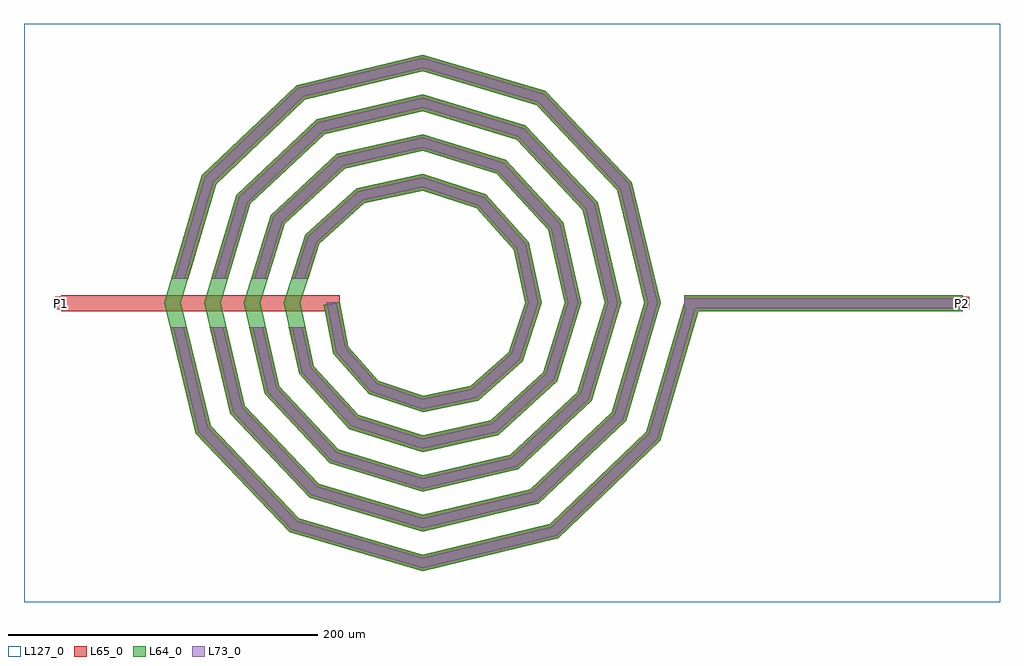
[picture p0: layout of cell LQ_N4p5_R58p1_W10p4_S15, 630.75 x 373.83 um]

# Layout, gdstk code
import gdstk
lib = gdstk.Library(unit=1e-6, precision=1e-09)
def R(c, l, rs):  # rectangles x0, y0, x1, y1
    for r in rs: c.add(gdstk.rectangle(r[:2], r[2:], *l))
def P(c, l, *ps):  # polygons
    for p in ps: c.add(gdstk.Polygon(p, *l))
L64_0 = (64, 0)
L65_0 = (65, 0)
L73_0 = (73, 0)
L127_0 = (127, 0)

lq_n4p5_r58p1_w10p4_s15 = lib.new_cell('LQ_N4p5_R58p1_W10p4_S15')
R(lq_n4p5_r58p1_w10p4_s15, L64_0, [(169.179,-5.2,349.179,5.2)])
P(lq_n4p5_r58p1_w10p4_s15, L64_0, [(-47.918,-28.073),(-28.542,-50.118),(0.329,-59.815),(31.254,-53.496),(55.663,-31.78),(66.237,0.3),(59.071,34.441),(35.014,61.212),(0.275,72.658),(-37.632,64.644),(-66.762,38.244),(-79.08,0.254),(-70.215,-40.825),(-41.471,-72.315),(0.236,-85.503),(44.022,-75.786),(77.868,-44.696),(91.925,0.221),(81.355,47.22),(47.92,83.423),(0.207,98.347),(-50.42,86.924),(-88.979,51.142),(-104.77,0.195),(-92.492,-53.621),(-54.363,-94.535),(0.184,-111.192),(56.824,-98.059),(100.093,-57.583),(117.615,0.175),(103.626,60.027),(60.802,105.65),(0.166,124.038),(-63.231,109.192),(-111.208,64.02),(-130.46,0.158),(-114.758,-66.436),(-67.238,-116.767),(0.151,-136.883),(69.641,-120.324),(122.326,-70.455),(143.306,0.145),(125.889,72.847),(73.672,127.885),(0.139,149.729),(-76.053,131.455),(-133.445,76.888),(-156.151,0.133),(-137.02,-79.26),(-80.104,-139.004),(0.128,-162.574),(82.467,-142.584),(144.564,-83.32),(169.389,1.461),(179.37,-1.461),(153.761,-88.918),(87.63,-152.033),(0.128,-173.339),(-85.711,-148.197),(-146.473,-84.414),(-166.916,0.133),(-142.631,82.504),(-81.198,140.913),(0.139,160.493),(79.297,137.066),(135.353,77.982),(154.069,0.145),(131.501,-76.091),(74.765,-129.794),(0.151,-147.646),(-72.886,-125.935),(-124.235,-71.547),(-141.223,0.158),(-120.368,69.68),(-68.329,118.676),(0.166,134.8),(66.476,114.802),(113.118,65.11),(128.377,0.175),(109.235,-63.272),(61.891,-107.56),(0.184,-121.954),(-60.069,-103.667),(-102.002,-58.67),(-115.531,0.195),(-98.099,56.867),(-55.448,96.446),(0.207,109.107),(53.666,92.53),(90.889,52.225),(102.684,0.221),(86.96,-50.467),(49.001,-85.334),(0.236,-96.26),(-47.269,-81.389),(-79.78,-45.774),(-89.837,0.254),(-75.816,44.074),(-42.545,74.226),(0.275,83.413),(40.881,70.242),(68.675,39.313),(76.989,0.3),(64.665,-37.692),(36.077,-63.125),(0.329,-70.565),(-34.507,-59.086),(-57.578,-32.835),(-63.868,-1.008),(-53.666,1.008)])
R(lq_n4p5_r58p1_w10p4_s15, L65_0, [(-233.567,-5.2,-53.567,5.2), (169.179,-5.2,349.179,5.2), (-237.567,-4,-229.567,4), (345.179,-4,353.179,4)])
P(lq_n4p5_r58p1_w10p4_s15, L65_0, [(-137.02,-79.26),(-80.104,-139.004),(0.128,-162.574),(82.467,-142.584),(144.564,-83.32),(169.389,1.461),(179.37,-1.461),(153.762,-88.918),(87.63,-152.033),(0.128,-173.339),(-85.711,-148.197),(-146.473,-84.415),(-163.111,-15.6),(-152.412,-15.6)],
  [(-114.758,-66.436),(-67.238,-116.767),(0.151,-136.883),(69.641,-120.324),(122.326,-70.455),(143.306,0.145),(125.889,72.847),(73.672,127.885),(0.139,149.729),(-76.053,131.455),(-133.445,76.888),(-151.513,15.6),(-162.356,15.6),(-142.631,82.504),(-81.198,140.913),(0.139,160.493),(79.298,137.066),(135.354,77.982),(154.069,0.145),(131.501,-76.091),(74.765,-129.794),(0.151,-147.646),(-72.886,-125.935),(-124.235,-71.547),(-137.49,-15.6),(-126.802,-15.6)],
  [(-92.492,-53.621),(-54.363,-94.535),(0.184,-111.192),(56.824,-98.059),(100.093,-57.583),(117.615,0.175),(103.626,60.027),(60.802,105.65),(0.166,124.038),(-63.231,109.192),(-111.208,64.021),(-125.733,15.6),(-136.591,15.6),(-120.368,69.68),(-68.329,118.676),(0.166,134.8),(66.476,114.802),(113.118,65.11),(128.377,0.175),(109.235,-63.272),(61.891,-107.56),(0.184,-121.954),(-60.069,-103.667),(-102.002,-58.67),(-111.901,-15.6),(-101.23,-15.6)],
  [(-70.215,-40.826),(-41.471,-72.315),(0.237,-85.503),(44.022,-75.786),(77.868,-44.696),(91.925,0.221),(81.355,47.22),(47.92,83.423),(0.207,98.347),(-50.42,86.924),(-88.979,51.142),(-99.911,15.6),(-110.792,15.6),(-98.099,56.867),(-55.448,96.446),(0.207,109.107),(53.666,92.53),(90.889,52.225),(102.684,0.221),(86.96,-50.467),(49.001,-85.334),(0.237,-96.261),(-47.269,-81.389),(-79.78,-45.774),(-86.373,-15.6),(-75.727,-15.6)],
  [(-28.542,-50.118),(0.33,-59.815),(31.254,-53.496),(55.663,-31.78),(66.237,0.3),(59.071,34.441),(35.014,61.212),(0.275,72.658),(-37.632,64.644),(-66.762,38.244),(-74.008,15.6),(-84.927,15.6),(-75.816,44.074),(-42.545,74.226),(0.275,83.413),(40.881,70.242),(68.675,39.313),(76.989,0.3),(64.665,-37.692),(36.077,-63.125),(0.33,-70.565),(-34.507,-59.086),(-57.578,-32.835),(-63.868,-1.008),(-53.666,1.008),(-47.918,-28.073)])
R(lq_n4p5_r58p1_w10p4_s15, L73_0, [(169.179,-3.2,349.179,3.2)])
P(lq_n4p5_r58p1_w10p4_s15, L73_0, [(-138.838,-80.251),(-81.183,-140.772),(0.079,-164.644),(83.46,-144.401),(146.333,-84.397),(171.308,0.899),(177.45,0.899),(151.993,-87.842),(86.637,-150.216),(0.079,-171.269),(-84.633,-146.429),(-144.655,-83.423),(-161.054,-15.6),(-154.469,-15.6)],
  [(-116.581,-67.419),(-68.324,-118.53),(0.093,-138.953),(70.626,-122.145),(124.09,-71.539),(145.376,0.089),(127.709,73.834),(74.754,129.651),(0.085,151.799),(-77.043,133.274),(-135.211,77.968),(-153.598,15.6),(-160.271,15.6),(-140.865,81.424),(-80.209,139.094),(0.085,158.423),(78.216,135.301),(133.534,76.994),(152,0.089),(129.736,-75.008),(73.779,-127.973),(0.093,-145.577),(-71.8,-124.172),(-122.413,-70.564),(-135.435,-15.6),(-128.857,-15.6)],
  [(-94.321,-54.592),(-55.46,-96.291),(0.114,-113.262),(57.798,-99.886),(101.851,-58.677),(119.685,0.108),(105.451,61.004),(61.893,107.41),(0.102,126.107),(-64.211,111.016),(-112.97,65.109),(-127.821,15.6),(-134.503,15.6),(-118.607,68.592),(-67.349,116.852),(0.102,132.731),(65.385,113.042),(111.293,64.133),(126.307,0.108),(107.477,-62.178),(60.916,-105.733),(0.114,-119.884),(-58.972,-101.911),(-100.173,-57.699),(-109.849,-15.6),(-103.282,-15.6)],
  [(-72.055,-41.777),(-42.586,-74.06),(0.146,-87.571),(44.979,-77.622),(79.617,-45.806),(93.994,0.136),(83.189,48.183),(49.025,85.174),(0.128,100.417),(-51.387,88.755),(-90.733,52.243),(-102.004,15.6),(-108.7,15.6),(-96.345,55.766),(-54.481,94.614),(0.128,107.038),(52.561,90.778),(89.056,51.263),(100.615,0.136),(85.211,-49.357),(48.043,-83.498),(0.146,-94.192),(-46.154,-79.644),(-77.94,-44.823),(-84.326,-15.6),(-77.775,-15.6)],
  [(-29.689,-51.843),(0.203,-61.882),(32.182,-55.347),(57.395,-32.917),(68.304,0.185),(60.918,35.378),(36.142,62.948),(0.169,74.727),(-38.577,66.487),(-68.503,39.365),(-76.107,15.6),(-82.827,15.6),(-74.075,42.953),(-41.6,72.384),(0.169,81.345),(39.753,68.505),(66.828,38.376),(74.921,0.185),(62.934,-36.555),(35.149,-61.273),(0.203,-68.498),(-33.36,-57.361),(-55.72,-31.92),(-61.906,0.621),(-55.628,0.621),(-49.776,-28.989)])
R(lq_n4p5_r58p1_w10p4_s15, L127_0, [(-257.567,-193.339,373.179,180.493)])
lq_n4p5_r58p1_w10p4_s15.add(gdstk.Label('P2', (349.179,0), layer=65, texttype=0))
lq_n4p5_r58p1_w10p4_s15.add(gdstk.Label('P1', (-233.567,0), layer=65, texttype=0))
lq_n4p5_r58p1_w10p4_s15.add(gdstk.Label('P2', (353.179,0), layer=145, texttype=0))
lq_n4p5_r58p1_w10p4_s15.add(gdstk.Label('P1', (-237.567,0), layer=145, texttype=0))

lib.write_gds('LQ_N4p5_R58p1_W10p4_S15.gds')
